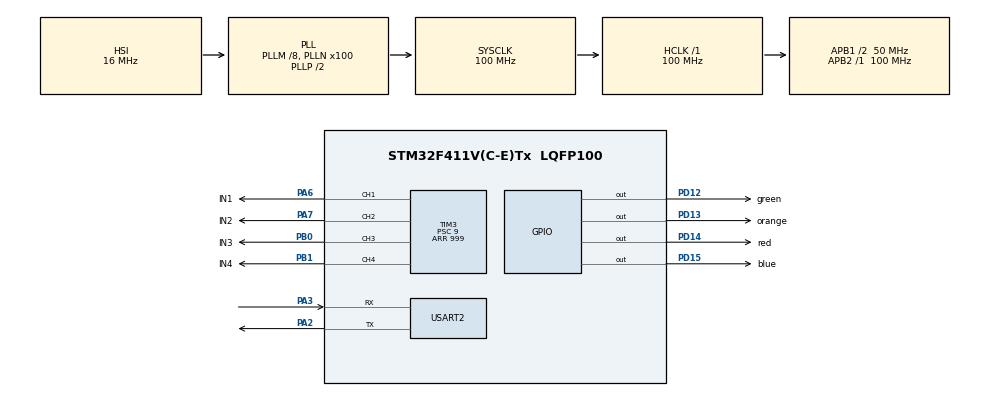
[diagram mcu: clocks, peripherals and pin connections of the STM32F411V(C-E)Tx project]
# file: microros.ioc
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Dma.Request0=USART2_RX
Dma.Request1=USART2_TX
Dma.USART2_RX.0.Direction=DMA_PERIPH_TO_MEMORY
Dma.USART2_RX.0.FIFOMode=DMA_FIFOMODE_DISABLE
Dma.USART2_RX.0.Instance=DMA1_Stream5
Dma.USART2_RX.0.MemDataAlignment=DMA_MDATAALIGN_BYTE
Dma.USART2_RX.0.MemInc=DMA_MINC_ENABLE
Dma.USART2_RX.0.Mode=DMA_CIRCULAR
Dma.USART2_RX.0.PeriphDataAlignment=DMA_PDATAALIGN_BYTE
Dma.USART2_RX.0.PeriphInc=DMA_PINC_DISABLE
Dma.USART2_RX.0.Priority=DMA_PRIORITY_VERY_HIGH
Dma.USART2_TX.1.Direction=DMA_MEMORY_TO_PERIPH
Dma.USART2_TX.1.FIFOMode=DMA_FIFOMODE_DISABLE
Dma.USART2_TX.1.Instance=DMA1_Stream6
Dma.USART2_TX.1.MemDataAlignment=DMA_MDATAALIGN_BYTE
Dma.USART2_TX.1.MemInc=DMA_MINC_ENABLE
Dma.USART2_TX.1.Mode=DMA_NORMAL
Dma.USART2_TX.1.PeriphDataAlignment=DMA_PDATAALIGN_BYTE
Dma.USART2_TX.1.PeriphInc=DMA_PINC_DISABLE
Dma.USART2_TX.1.Priority=DMA_PRIORITY_VERY_HIGH
FREERTOS.Tasks01=defaultTask,24,3000,StartDefaultTask,Default,NULL,Dynamic,NULL,NULL
Mcu.Family=STM32F4
Mcu.Name=STM32F411V(C-E)Tx
Mcu.Package=LQFP100
NVIC.DMA1_Stream5_IRQn=true\:5\:0\:false\:false\:true\:true\:false\:true\:true
NVIC.DMA1_Stream6_IRQn=true\:5\:0\:false\:false\:true\:true\:false\:true\:true
NVIC.PriorityGroup=NVIC_PRIORITYGROUP_4
NVIC.USART2_IRQn=true\:5\:0\:false\:false\:true\:true\:true\:true\:true
PA2.Mode=Asynchronous
PA2.Signal=USART2_TX
PA3.Mode=Asynchronous
PA3.Signal=USART2_RX
PA6.GPIO_Label=IN1
PA6.Signal=S_TIM3_CH1
PA7.GPIO_Label=IN2
PA7.Signal=S_TIM3_CH2
PB0.GPIO_Label=IN3
PB0.Signal=S_TIM3_CH3
PB1.GPIO_Label=IN4
PB1.Signal=S_TIM3_CH4
PC14-OSC32_IN.Mode=LSE-External-Oscillator
PC14-OSC32_IN.Signal=RCC_OSC32_IN
PC15-OSC32_OUT.Mode=LSE-External-Oscillator
PC15-OSC32_OUT.Signal=RCC_OSC32_OUT
PD12.GPIO_Label=green
PD12.Signal=GPIO_Output
PD13.GPIO_Label=orange
PD13.Signal=GPIO_Output
PD14.GPIO_Label=red
PD14.Signal=GPIO_Output
PD15.GPIO_Label=blue
PD15.Signal=GPIO_Output
PH0\ -\ OSC_IN.Mode=HSE-External-Oscillator
PH0\ -\ OSC_IN.Signal=RCC_OSC_IN
PH1\ -\ OSC_OUT.Mode=HSE-External-Oscillator
PH1\ -\ OSC_OUT.Signal=RCC_OSC_OUT
ProjectManager.HeapSize=0x200
ProjectManager.StackSize=0x400
ProjectManager.TargetToolchain=STM32CubeIDE
RCC.48MHZClocksFreq_Value=50000000
RCC.AHBFreq_Value=100000000
RCC.APB1CLKDivider=RCC_HCLK_DIV2
RCC.APB1Freq_Value=50000000
RCC.APB1TimFreq_Value=100000000
RCC.APB2Freq_Value=100000000
RCC.APB2TimFreq_Value=100000000
RCC.CortexFreq_Value=100000000
RCC.HCLKFreq_Value=100000000
RCC.HSE_VALUE=25000000
RCC.HSI_VALUE=16000000
RCC.PLLM=12
RCC.PLLN=96
RCC.PLLSourceVirtual=RCC_PLLSOURCE_HSE
RCC.SYSCLKFreq_VALUE=100000000
RCC.SYSCLKSource=RCC_SYSCLKSOURCE_PLLCLK
RCC.VCOOutputFreq_Value=200000000
SH.S_TIM3_CH1.0=TIM3_CH1,PWM Generation1 CH1
SH.S_TIM3_CH2.0=TIM3_CH2,PWM Generation2 CH2
SH.S_TIM3_CH3.0=TIM3_CH3,PWM Generation3 CH3
SH.S_TIM3_CH4.0=TIM3_CH4,PWM Generation4 CH4
TIM3.Channel-PWM\ Generation1\ CH1=TIM_CHANNEL_1
TIM3.Channel-PWM\ Generation2\ CH2=TIM_CHANNEL_2
TIM3.Channel-PWM\ Generation3\ CH3=TIM_CHANNEL_3
TIM3.Channel-PWM\ Generation4\ CH4=TIM_CHANNEL_4
TIM3.Period=999
TIM3.Prescaler=9
USART2.VirtualMode=VM_ASYNC
VP_FREERTOS_VS_CMSIS_V2.Mode=CMSIS_V2
VP_TIM3_VS_ClockSourceINT.Mode=Internal
board=custom

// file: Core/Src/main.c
/* USER CODE BEGIN Header */
/**
  ******************************************************************************
  * @file           : main.c
  * @brief          : Main program body
  ******************************************************************************
  * @attention
  *
  * Copyright (c) 2024 STMicroelectronics.
  * All rights reserved.
  *
  * This software is licensed under terms that can be found in the LICENSE file
  * in the root directory of this software component.
  * If no LICENSE file comes with this software, it is provided AS-IS.
  *
  * Code written by Kamath Abhay Sunil for the ASTRA rover (USN: 1RV22EE021)
  * R.V. College of Engineering Banglore India
  ******************************************************************************
  */
/* USER CODE END Header */
#include "main.h"
#include "cmsis_os.h"

/* USER CODE BEGIN Includes */
#include <rcl/rcl.h>
#include <rcl/error_handling.h>
#include <rclc/rclc.h>
#include <rclc/executor.h>
#include <uxr/client/transport.h>
#include <rmw_microxrcedds_c/config.h>
#include <rmw_microros/rmw_microros.h>
#include <std_msgs/msg/string.h>
#include <std_msgs/msg/int32.h>

#include <stdio.h>
#include <string.h>
#include <geometry_msgs/msg/twist.h> //MAKE SURE TO INCLUDE THE MESSAGE TYPE WE WISH TO USE
/* USER CODE END Includes */

TIM_HandleTypeDef htim3;

UART_HandleTypeDef huart2;
DMA_HandleTypeDef hdma_usart2_rx;
DMA_HandleTypeDef hdma_usart2_tx;

/* Definitions for defaultTask */
osThreadId_t defaultTaskHandle; 								/*the default task is initialized here by the ide itself,
																	essentially this set of code is executed once*/
const osThreadAttr_t defaultTask_attributes = {
  .name = "defaultTask",
  .stack_size = 3000 * 4,
  .priority = (osPriority_t) osPriorityNormal,
};
/* USER CODE BEGIN PV */

//Initialize private variables in this block

static int32_t leftWheelEncoder = 0;
static int32_t rightWheelEncoder = 0;

//declare the variables for wheel velocity as well as declare certain constants in this code block

double leftWheelVelocity;											//initialize the left wheel velocity variable this is in m/s
double rightWheelVelocity;											//initialize right wheel velocity variable in m/s

double leftWheelRPM;												//initializing the left wheel RPM
double rightWheelRPM;												//initializing the right wheel RPM

const double length = 0.225;					   					//this is the distance between the left and right wheels divided by two in meters
const double wheelRadius = 0.07;									//radius of the wheel
/* USER CODE END PV */

void SystemClock_Config(void);
static void MX_GPIO_Init(void);
static void MX_DMA_Init(void);
static void MX_USART2_UART_Init(void);
static void MX_TIM3_Init(void);
void StartDefaultTask(void *argument);

/* USER CODE BEGIN 0 */

//IN THIS BLOCK WE WRITE CALLBACKS FOR MICROROS

void cmd_vel_callback(const void*msgin)											//defining the cmd_vel callback
{
	geometry_msgs__msg__Twist * msg = (geometry_msgs__msg__Twist*)msgin;		//pointing the message type of /cmd_vel to msg

	leftWheelVelocity = msg->linear.x - msg->angular.z*length;					//defining the left wheel velocity using differential drive kinematics
	rightWheelVelocity = msg->linear.x + msg->angular.z*length;					//defining the right wheel velocity using differential drive kinematics

	leftWheelRPM = leftWheelVelocity*60/6.2831;                                /*left wheel velocity the unit is m/s so we multiply it by 60
																					and divide by 2pi to get rpm*/
	rightWheelRPM = rightWheelVelocity*60/6.2831;								//same as what we did for the left wheel

	if (leftWheelRPM >= 0 && leftWheelRPM <= 1000 && rightWheelRPM >= 0 && rightWheelRPM <= 1000){ //To move the bot front
		TIM3->CCR1 = leftWheelRPM;
		TIM3->CCR2 = 0;
		TIM3->CCR3 = rightWheelRPM;
		TIM3->CCR4 = 0;
	}
	else if (leftWheelRPM <= 0 && leftWheelRPM >= -1000 && rightWheelRPM <= 0 && rightWheelRPM >= -1000){ //To move the bot back
		TIM3->CCR1 = 0;
		TIM3->CCR2 = -leftWheelRPM;
		TIM3->CCR3 = 0;
		TIM3->CCR4 = -rightWheelRPM;
	}
	else if (leftWheelRPM >= 0 && leftWheelRPM <= 1000 && rightWheelRPM <= 0 && rightWheelRPM >= -1000){ //To move the bot left
		TIM3->CCR1 = 0;
		TIM3->CCR2 = -leftWheelRPM;
		TIM3->CCR3 = rightWheelRPM;
		TIM3->CCR4 = 0;
	}
	else if (leftWheelRPM <= 0 && leftWheelRPM >= -1000 && rightWheelRPM >= 0 && rightWheelRPM <= 1000){ //To move the bot right
		TIM3->CCR1 = leftWheelRPM;
		TIM3->CCR2 = 0;
		TIM3->CCR3 = 0;
		TIM3->CCR4 = -rightWheelRPM;
	}
	else{
		TIM3->CCR1 = 0;
		TIM3->CCR2 = 0;
		TIM3->CCR3 = 0;
		TIM3->CCR4 = 0;
	}

	//THE BELOW CODE IS TO MOVE THE BOT FRONT AND BACK

/*	if (msg->linear.x >= 0){
		HAL_GPIO_WritePin(green_GPIO_Port, green_Pin, 1); 						//while moving forward we want green light to turn on
		HAL_GPIO_WritePin(red_GPIO_Port, red_Pin, 0); 							//and hence red light is turned off
		TIM3->CCR1 = 200*msg->linear.x;   										//RPWM1 set to high (PA6)
		TIM3->CCR2 = 0; 														//RPWM2 set to low  (PA7)
		TIM3->CCR3 = 200*msg->linear.x;  										//LPWM1 set to high (PB0)
		TIM3->CCR4 = 0; 														//LPWM2 set to low  (PB1)

	}else{
		HAL_GPIO_WritePin(green_GPIO_Port, green_Pin, 0);						//now we are moving backwards so green is turned off
		HAL_GPIO_WritePin(red_GPIO_Port, red_Pin, 1);							//and red is turned on
		TIM3->CCR1 = 0; 														//RPWM1 set to low
		TIM3->CCR2 = -200*msg->linear.x;										//RPWM2 set to high
		TIM3->CCR3 = 0; 														//LPWM1 set to low
		TIM3->CCR4 = -200*msg->linear.x;										//LPWM2 set to high
	}
*/
}

/* USER CODE END 0 */

int main(void)
{

  /* MCU Configuration--------------------------------------------------------*/

  /* Reset of all peripherals, Initializes the Flash interface and the Systick. */
  HAL_Init();

  /* Configure the system clock */
  SystemClock_Config();

  /* Initialize all configured peripherals */
  MX_GPIO_Init();
  MX_DMA_Init();
  MX_USART2_UART_Init();
  MX_TIM3_Init();
  /* USER CODE BEGIN 2 */
  HAL_TIM_PWM_Start(&htim3, TIM_CHANNEL_1);
  HAL_TIM_PWM_Start(&htim3, TIM_CHANNEL_2);
  HAL_TIM_PWM_Start(&htim3, TIM_CHANNEL_3);
  HAL_TIM_PWM_Start(&htim3, TIM_CHANNEL_4);
  /* USER CODE END 2 */

  /* Init scheduler */
  osKernelInitialize();

  /* Create the thread(s) */
  /* creation of defaultTask */
  defaultTaskHandle = osThreadNew(StartDefaultTask, NULL, &defaultTask_attributes);

  /* Start scheduler */
  osKernelStart();

  /* We should never get here as control is now taken by the scheduler */
  /* Infinite loop */
  while (1)
  {

  }
}

void SystemClock_Config(void)
{
  RCC_OscInitTypeDef RCC_OscInitStruct = {0};
  RCC_ClkInitTypeDef RCC_ClkInitStruct = {0};

  /** Configure the main internal regulator output voltage
  */
  __HAL_RCC_PWR_CLK_ENABLE();
  __HAL_PWR_VOLTAGESCALING_CONFIG(PWR_REGULATOR_VOLTAGE_SCALE1);

  /** Initializes the RCC Oscillators according to the specified parameters
  * in the RCC_OscInitTypeDef structure.
  */
  RCC_OscInitStruct.OscillatorType = RCC_OSCILLATORTYPE_HSI;
  RCC_OscInitStruct.HSIState = RCC_HSI_ON;
  RCC_OscInitStruct.HSICalibrationValue = RCC_HSICALIBRATION_DEFAULT;
  RCC_OscInitStruct.PLL.PLLState = RCC_PLL_ON;
  RCC_OscInitStruct.PLL.PLLSource = RCC_PLLSOURCE_HSI;
  RCC_OscInitStruct.PLL.PLLM = 8;
  RCC_OscInitStruct.PLL.PLLN = 100;
  RCC_OscInitStruct.PLL.PLLP = RCC_PLLP_DIV2;
  RCC_OscInitStruct.PLL.PLLQ = 4;
  if (HAL_RCC_OscConfig(&RCC_OscInitStruct) != HAL_OK)
  {
    Error_Handler();
  }

  /** Initializes the CPU, AHB and APB buses clocks
  */
  RCC_ClkInitStruct.ClockType = RCC_CLOCKTYPE_HCLK|RCC_CLOCKTYPE_SYSCLK
                              |RCC_CLOCKTYPE_PCLK1|RCC_CLOCKTYPE_PCLK2;
  RCC_ClkInitStruct.SYSCLKSource = RCC_SYSCLKSOURCE_PLLCLK;
  RCC_ClkInitStruct.AHBCLKDivider = RCC_SYSCLK_DIV1;
  RCC_ClkInitStruct.APB1CLKDivider = RCC_HCLK_DIV2;
  RCC_ClkInitStruct.APB2CLKDivider = RCC_HCLK_DIV1;

  if (HAL_RCC_ClockConfig(&RCC_ClkInitStruct, FLASH_LATENCY_3) != HAL_OK)
  {
    Error_Handler();
  }
}

static void MX_TIM3_Init(void)
{

  TIM_ClockConfigTypeDef sClockSourceConfig = {0};
  TIM_MasterConfigTypeDef sMasterConfig = {0};
  TIM_OC_InitTypeDef sConfigOC = {0};

  htim3.Instance = TIM3;
  htim3.Init.Prescaler = 9;
  htim3.Init.CounterMode = TIM_COUNTERMODE_UP;
  htim3.Init.Period = 999;
  htim3.Init.ClockDivision = TIM_CLOCKDIVISION_DIV1;
  htim3.Init.AutoReloadPreload = TIM_AUTORELOAD_PRELOAD_DISABLE;
  if (HAL_TIM_Base_Init(&htim3) != HAL_OK)
  {
    Error_Handler();
  }
  sClockSourceConfig.ClockSource = TIM_CLOCKSOURCE_INTERNAL;
  if (HAL_TIM_ConfigClockSource(&htim3, &sClockSourceConfig) != HAL_OK)
  {
    Error_Handler();
  }
  if (HAL_TIM_PWM_Init(&htim3) != HAL_OK)
  {
    Error_Handler();
  }
  sMasterConfig.MasterOutputTrigger = TIM_TRGO_RESET;
  sMasterConfig.MasterSlaveMode = TIM_MASTERSLAVEMODE_DISABLE;
  if (HAL_TIMEx_MasterConfigSynchronization(&htim3, &sMasterConfig) != HAL_OK)
  {
    Error_Handler();
  }
  sConfigOC.OCMode = TIM_OCMODE_PWM1;
  sConfigOC.Pulse = 0;
  sConfigOC.OCPolarity = TIM_OCPOLARITY_HIGH;
  sConfigOC.OCFastMode = TIM_OCFAST_DISABLE;
  if (HAL_TIM_PWM_ConfigChannel(&htim3, &sConfigOC, TIM_CHANNEL_1) != HAL_OK)
  {
    Error_Handler();
  }
  if (HAL_TIM_PWM_ConfigChannel(&htim3, &sConfigOC, TIM_CHANNEL_2) != HAL_OK)
  {
    Error_Handler();
  }
  if (HAL_TIM_PWM_ConfigChannel(&htim3, &sConfigOC, TIM_CHANNEL_3) != HAL_OK)
  {
    Error_Handler();
  }
  if (HAL_TIM_PWM_ConfigChannel(&htim3, &sConfigOC, TIM_CHANNEL_4) != HAL_OK)
  {
    Error_Handler();
  }
  HAL_TIM_MspPostInit(&htim3);

}

static void MX_USART2_UART_Init(void)
{

  huart2.Instance = USART2;
  huart2.Init.BaudRate = 115200;
  huart2.Init.WordLength = UART_WORDLENGTH_8B;
  huart2.Init.StopBits = UART_STOPBITS_1;
  huart2.Init.Parity = UART_PARITY_NONE;
  huart2.Init.Mode = UART_MODE_TX_RX;
  huart2.Init.HwFlowCtl = UART_HWCONTROL_NONE;
  huart2.Init.OverSampling = UART_OVERSAMPLING_16;
  if (HAL_UART_Init(&huart2) != HAL_OK)
  {
    Error_Handler();
  }

}

static void MX_DMA_Init(void)
{

  /* DMA controller clock enable */
  __HAL_RCC_DMA1_CLK_ENABLE();

  /* DMA interrupt init */
  /* DMA1_Stream5_IRQn interrupt configuration */
  HAL_NVIC_SetPriority(DMA1_Stream5_IRQn, 5, 0);
  HAL_NVIC_EnableIRQ(DMA1_Stream5_IRQn);
  /* DMA1_Stream6_IRQn interrupt configuration */
  HAL_NVIC_SetPriority(DMA1_Stream6_IRQn, 5, 0);
  HAL_NVIC_EnableIRQ(DMA1_Stream6_IRQn);

}

static void MX_GPIO_Init(void)
{
  GPIO_InitTypeDef GPIO_InitStruct = {0};

  /* GPIO Ports Clock Enable */
  __HAL_RCC_GPIOC_CLK_ENABLE();
  __HAL_RCC_GPIOH_CLK_ENABLE();
  __HAL_RCC_GPIOA_CLK_ENABLE();
  __HAL_RCC_GPIOB_CLK_ENABLE();
  __HAL_RCC_GPIOD_CLK_ENABLE();

  /*Configure GPIO pin Output Level */
  HAL_GPIO_WritePin(GPIOD, green_Pin|orange_Pin|red_Pin|blue_Pin, GPIO_PIN_RESET);

  /*Configure GPIO pins : green_Pin orange_Pin red_Pin blue_Pin */
  GPIO_InitStruct.Pin = green_Pin|orange_Pin|red_Pin|blue_Pin;
  GPIO_InitStruct.Mode = GPIO_MODE_OUTPUT_PP;
  GPIO_InitStruct.Pull = GPIO_NOPULL;
  GPIO_InitStruct.Speed = GPIO_SPEED_FREQ_LOW;
  HAL_GPIO_Init(GPIOD, &GPIO_InitStruct);

}

/* USER CODE BEGIN 4 */
bool cubemx_transport_open(struct uxrCustomTransport * transport);
bool cubemx_transport_close(struct uxrCustomTransport * transport);
size_t cubemx_transport_write(struct uxrCustomTransport* transport, const uint8_t * buf, size_t len, uint8_t * err);
size_t cubemx_transport_read(struct uxrCustomTransport* transport, uint8_t* buf, size_t len, int timeout, uint8_t* err);

void * microros_allocate(size_t size, void * state);
void microros_deallocate(void * pointer, void * state);
void * microros_reallocate(void * pointer, size_t size, void * state);
void * microros_zero_allocate(size_t number_of_elements, size_t size_of_element, void * state);
/* USER CODE END 4 */

void StartDefaultTask(void *argument)
{
  /* USER CODE BEGIN 5 */

	  // micro-ROS configuration
	  char test_array[ARRAY_LEN];
	  memset(test_array,'z',ARRAY_LEN);

	  rmw_uros_set_custom_transport(
	    true,
	    (void *) &huart2,
	    cubemx_transport_open,
	    cubemx_transport_close,
	    cubemx_transport_write,
	    cubemx_transport_read);

	  rcl_allocator_t freeRTOS_allocator = rcutils_get_zero_initialized_allocator();
	  freeRTOS_allocator.allocate = microros_allocate;
	  freeRTOS_allocator.deallocate = microros_deallocate;
	  freeRTOS_allocator.reallocate = microros_reallocate;
	  freeRTOS_allocator.zero_allocate =  microros_zero_allocate;

	  if (!rcutils_set_default_allocator(&freeRTOS_allocator)) {
	      printf("Error on default allocators (line %d)\n", __LINE__);
	  }

	  // micro-ROS application

	  rcl_subscription_t subscriber_cmd_vel;
	  geometry_msgs__msg__Twist cmd_vel_msg;

	  //std_msgs__msg__String sub_str_msg;
	  //rcl_subscription_t subscriber_cmd_vel_status;
	  //geometry_msgs__msg__Twist cmd_vel_status_msg;
	  /*rcl_publisher_t publisher, publisher_string;
	  std_msgs__msg__Int32 msg;*/

	  rclc_support_t support;
	  rcl_allocator_t allocator;
	  rcl_node_t node;

	  allocator = rcl_get_default_allocator();

	  //create init_options
	  rclc_support_init(&support, 0, NULL, &allocator);

	  // create node
	  rclc_node_init_default(&node, "microROS", "", &support);

	  // create publisher

	  /*rclc_publisher_init_best_effort(
			  &publisher_string,
			  &node,
			  ROSIDL_GET_MSG_TYPE_SUPPORT(std_msgs, msg, String),
			  "Brother");
	  */

	  /*rclc_publisher_init_default(
			  &subscriber_cmd_vel_status,
			  &node,
			  ROSIDL_GET_MSG_TYPE_SUPPORT(geometry_msgs, msg, Twist),
	    "status_cmd_vel");
	    */
	  /*rclc_publisher_init_best_effort(&cmd_vel_msg, &node, Twist, "velocity");*/
	  /*rclc_publisher_init_default(
	    &publisher,
	    &node,
	    ROSIDL_GET_MSG_TYPE_SUPPORT(std_msgs, msg, Int32),
	    "cubemx_publisher");
	    */

	  //create subscriber
	  rclc_subscription_init_default(
	    &subscriber_cmd_vel,
	    &node,
	    ROSIDL_GET_MSG_TYPE_SUPPORT(geometry_msgs, msg, Twist),
	    "cmd_vel");

	  //create executor
	  rclc_executor_t executor = rclc_executor_get_zero_initialized_executor();
	  rclc_executor_init(&executor, &support.context, 2, &allocator);
	  rclc_executor_add_subscription(&executor, &subscriber_cmd_vel, &cmd_vel_msg, &cmd_vel_callback, ON_NEW_DATA);

	    // execute subscriber
	    rclc_executor_spin(&executor);

	    //organize
	    rcl_subscription_fini(&subscriber_cmd_vel, &node);
	    rcl_node_fini(&node);

	  /*for(;;)
	  {
	    rcl_ret_t ret = rcl_publish(&publisher, &msg, NULL);
	    if (ret != RCL_RET_OK)
	    {
	      printf("Error publishing (line %d)\n", __LINE__);
	    }

	    msg.data++;
	    osDelay(10);

	  }*/

  /* USER CODE END 5 */
}

void Error_Handler(void)
{
  __disable_irq();
  while (1)
  {
  }
}
